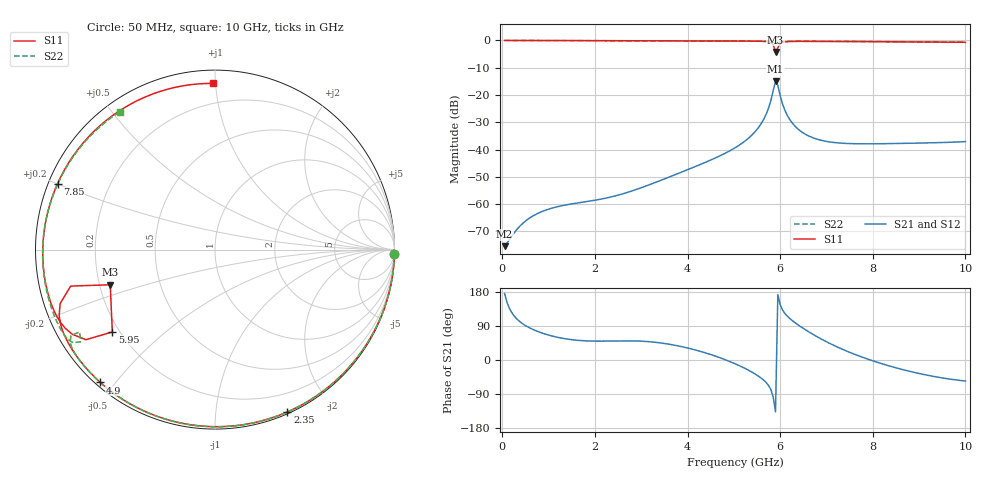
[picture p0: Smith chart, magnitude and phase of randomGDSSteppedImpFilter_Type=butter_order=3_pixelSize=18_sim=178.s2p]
! freq	dB(S11)	phase(S11)	dB(S12)	phase(S12)
!  dB(S21)	phase(S21)	dB(S22)	phase(S22)
!S-par simulation data
#  GHz  S  DB  R 50
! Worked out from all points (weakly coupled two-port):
!   200 points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, 50 MHz to 10 GHz, reference 50 ohm
!   highest |S21| = -14.99 dB at 5.9 GHz (marker M1); lowest = -75.4 dB at 50 MHz (marker M2)
!   lowest |S11| = -4.2 dB at 5.9 GHz (marker M3), VSWR 4.20, Z = 12.2 - j7.69 ohm
!   |S11| at or under -10 dB: nowhere
!   |S22| runs from -1.1 to 0.0 dB; largest |S21 - S12| = 0
!   S11 on the Smith chart (normalised r, x): 50 MHz: 0, -79; 2.35 GHz: 0.02, -1.54; 4.9 GHz: 0.01, -0.46; 5.95 GHz: 0.17, -0.34; 7.85 GHz: 0.03, +0.20; 10 GHz: 0.08, +0.99
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0.05  -0.00 -1.5  -75.44 175.4  -75.44 175.4  -0.00 -1.5
0.4  -0.01 -11.6  -67.75 99.1  -67.75 99.1  -0.01 -11.7
0.7  -0.02 -20.2  -63.99 78.5  -63.99 78.5  -0.02 -20.4
1.75  -0.06 -49.7  -59.27 50.8  -59.27 50.8  -0.06 -49.9
2.35  -0.08 -66.0  -57.38 50.1  -57.38 50.1  -0.08 -65.9
3.4  -0.12 -93.3  -51.45 45.3  -51.45 45.3  -0.12 -92.2
4.9  -0.20 -130.8  -40.59 -3.4  -40.59 -3.4  -0.18 -126.4
5.05  -0.21 -134.6  -39.12 -11.2  -39.12 -11.2  -0.19 -129.7
5.35  -0.24 -142.6  -35.34 -29.2  -35.34 -29.2  -0.21 -136.2
5.6  -0.31 -150.3  -30.23 -48.7  -30.23 -48.7  -0.24 -141.9
5.8  -0.79 -160.8  -21.99 -78.2  -21.99 -78.2  -0.38 -147.4
5.85  -1.63 -165.8  -18.38 -97.1  -18.38 -97.1  -0.59 -149.2
5.9  -4.21 -161.5  -14.99 -137.0  -14.99 -137.0  -1.09 -148.7
5.95  -2.70 -141.3  -16.46 172.7  -16.46 172.7  -0.84 -145.5
6.05  -0.68 -149.3  -23.23 132.2  -23.23 132.2  -0.37 -148.4
6.2  -0.39 -156.8  -28.80 110.5  -28.80 110.5  -0.29 -152.4
6.4  -0.34 -163.4  -32.69 91.6  -32.69 91.6  -0.28 -156.9
6.7  -0.34 -171.8  -35.64 68.3  -35.64 68.3  -0.29 -163.3
7.85  -0.43 157.2  -37.91 4.1  -37.91 4.1  -0.38 172.7
8.35  -0.48 143.0  -37.83 -15.4  -37.83 -15.4  -0.43 162.1
9.25  -0.58 115.6  -37.55 -41.9  -37.55 -41.9  -0.52 142.2
10  -0.67 90.6  -37.09 -55.5  -37.09 -55.5  -0.60 124.6
